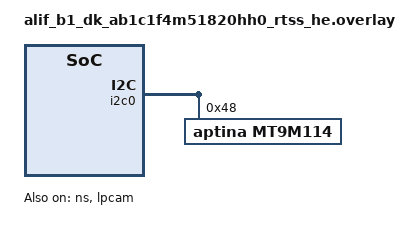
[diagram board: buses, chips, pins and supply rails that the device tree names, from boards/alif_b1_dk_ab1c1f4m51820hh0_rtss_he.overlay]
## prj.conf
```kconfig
# Copyright (C) 2024 Alif Semiconductor
# SPDX-License-Identifier: Apache-2.0

CONFIG_VIDEO=y
CONFIG_LOG=y
CONFIG_PRINTK=y
CONFIG_STDOUT_CONSOLE=y
CONFIG_I2C_TARGET=y
CONFIG_I2C=y
CONFIG_I2C_DW_CLOCK_SPEED=100
CONFIG_SYS_HEAP_AUTO=y
CONFIG_VIDEO_MIPI_CSI2_DW=y
```

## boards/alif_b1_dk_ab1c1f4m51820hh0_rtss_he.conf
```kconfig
CONFIG_VIDEO_BUFFER_POOL_SZ_MAX=655360
CONFIG_VIDEO_BUFFER_POOL_NUM_MAX=1
```

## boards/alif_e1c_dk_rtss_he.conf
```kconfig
CONFIG_VIDEO_BUFFER_POOL_SZ_MAX=524288
CONFIG_VIDEO_BUFFER_POOL_NUM_MAX=1
CONFIG_MT9M114_PARALLEL_INIT=y
```

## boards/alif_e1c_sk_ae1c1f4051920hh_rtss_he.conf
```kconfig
CONFIG_VIDEO_BUFFER_POOL_SZ_MAX=524288
CONFIG_VIDEO_BUFFER_POOL_NUM_MAX=1
CONFIG_REGULATOR=y
CONFIG_REGULATOR_FIXED=y
```

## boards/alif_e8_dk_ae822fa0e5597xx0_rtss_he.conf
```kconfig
CONFIG_VIDEO_ALIF_CAM_EXTENDED=y
CONFIG_MIPI_DSI=y
CONFIG_VIDEO_BUFFER_POOL_NUM_MAX=1
```

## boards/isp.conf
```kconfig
CONFIG_USE_ALIF_ISP_LIB=y
CONFIG_ISP_LIB_SCALAR_MODULE=y
CONFIG_ISP_LIB_DMSC_MODULE=y
CONFIG_ISP_LIB_CCM_MODULE=n
CONFIG_ISP_LIB_WBM_MODULE=n
CONFIG_ISP_LIB_WB_MODULE=n
```

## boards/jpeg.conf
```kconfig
# Copyright (C) 2026 Alif Semiconductor - All Rights Reserved.
# Use, distribution and modification of this code is permitted under the
# terms stated in the Alif Semiconductor Software License Agreement
#
# You should have received a copy of the Alif Semiconductor Software
# License Agreement with this file. If not, please write to:
# contact@alifsemi.com, or visit: https://alifsemi.com/license

# Video subsystem
CONFIG_VIDEO_JPEG_HANTRO_VC9000E=y
CONFIG_USE_ALIF_JPEG_SW_LIB=y
CONFIG_VIDEO_BUFFER_POOL_NUM_MAX=3
CONFIG_VIDEO_BUFFER_POOL_SZ_MAX=400000
```

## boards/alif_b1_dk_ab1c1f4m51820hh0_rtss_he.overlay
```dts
/* Copyright (C) 2025 Alif Semiconductor - All Rights Reserved.
 * Use, distribution and modification of this code is permitted under the
 * terms stated in the Alif Semiconductor Software License Agreement
 *
 * You should have received a copy of the Alif Semiconductor Software
 * License Agreement with this file. If not, please write to:
 * contact@alifsemi.com, or visit: https: //alifsemi.com/license
 *
 */

#include <dt-bindings/pinctrl/balletto-pinctrl.h>
#include <dt-bindings/i2c/i2c.h>
#include <dt-bindings/gpio/gpio.h>
#include <dt-bindings/video/video-interfaces.h>

&ns {
	status = "okay";
};

&i2c0 {
	status = "okay";

	mt9m114: mt9m114@48{
		compatible = "aptina,mt9m114";
		reg = <0x48>;
		status = "okay";

		port {
			mt9m114_ep_out: endpoint {
				bus-type = <VIDEO_BUS_TYPE_PARALLEL>;
				remote-endpoint-label = "lpcam_ep_in";
			};
		};
	};
};

&lpcam {
	status = "okay";
	sensor = <&mt9m114>;
	ports {
		#address-cells = <1>;
		#size-cells = <0>;

		/* Camera Input Endpoint. For LP-CAM it is only camera */
		port@0 {
			reg = <0>;
			lpcam_ep_in: endpoint {
				remote-endpoint-label = "mt9m114_ep_out";
			};
		};

		/* Video buffer output endpoint. */
		port@1 {
			reg = <1>;
			cam_mem_ep_out: endpoint {
				remote-endpoint-label = "application";
			};
		};


	};
};
```

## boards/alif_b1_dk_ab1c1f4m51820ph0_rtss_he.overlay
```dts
/* Copyright (C) 2026 Alif Semiconductor - All Rights Reserved.
 * Use, distribution and modification of this code is permitted under the
 * terms stated in the Alif Semiconductor Software License Agreement
 *
 * You should have received a copy of the Alif Semiconductor Software
 * License Agreement with this file. If not, please write to:
 * contact@alifsemi.com, or visit: https: //alifsemi.com/license
 *
 */

#include <dt-bindings/pinctrl/balletto-pinctrl.h>
#include <dt-bindings/i2c/i2c.h>
#include <dt-bindings/gpio/gpio.h>
#include <dt-bindings/video/video-interfaces.h>

&ns {
	status = "okay";
	reg = <0x2002a000 DT_SIZE_K(768)>;
};

&i2c0 {
	status = "okay";

	mt9m114: mt9m114@48{
		compatible = "aptina,mt9m114";
		reg = <0x48>;
		status = "okay";

		port {
			mt9m114_ep_out: endpoint {
				bus-type = <VIDEO_BUS_TYPE_PARALLEL>;
				remote-endpoint-label = "lpcam_ep_in";
			};
		};
	};
};

&lpcam {
	status = "okay";
	cpi-interface = "parallel";
	ports {
		#address-cells = <1>;
		#size-cells = <0>;

		/* Camera Input Endpoint. For LP-CAM it is only camera */
		port@0 {
			reg = <0>;
			lpcam_ep_in: endpoint {
				remote-endpoint-label = "mt9m114_ep_out";
			};
		};

		/* Video buffer output endpoint. */
		port@1 {
			reg = <1>;
			cam_mem_ep_out: endpoint {
				remote-endpoint-label = "application";
			};
		};


	};
};
```

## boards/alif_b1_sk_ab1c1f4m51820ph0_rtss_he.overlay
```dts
/* Copyright (C) 2026 Alif Semiconductor - All Rights Reserved.
 * Use, distribution and modification of this code is permitted under the
 * terms stated in the Alif Semiconductor Software License Agreement
 *
 * You should have received a copy of the Alif Semiconductor Software
 * License Agreement with this file. If not, please write to:
 * contact@alifsemi.com, or visit: https: //alifsemi.com/license
 *
 */

#include <dt-bindings/pinctrl/balletto-pinctrl.h>
#include <dt-bindings/i2c/i2c.h>
#include <dt-bindings/gpio/gpio.h>
#include <dt-bindings/video/video-interfaces.h>

&ns {
	status = "okay";
};

&gpio1 {
	status = "okay";
};

&lpgpio {
	status = "okay";
};

&i2c1 {
	status = "okay";

	ov5640: ov5640@3c {
		compatible = "ovti,ov5640";
		reg = <0x3c>;
		status = "okay";
		reset-gpios = <&lpgpio 1 GPIO_ACTIVE_LOW>;
		powerdown-gpios = <&gpio1 3 GPIO_ACTIVE_HIGH>;

		port {
			lpcam_ep_out: endpoint {
				bus-type = <VIDEO_BUS_TYPE_PARALLEL>;
				remote-endpoint-label = "lpcam_ep_in";
			};
		};
	};
};

&lpcam {
	status = "okay";
	cpi-interface = "parallel";
	ports {
		#address-cells = <1>;
		#size-cells = <0>;

		/* Camera Input Endpoint. For LP-CAM it is only camera */
		port@0 {
			reg = <0>;
			lpcam_ep_in: endpoint {
				remote-endpoint-label = "lpcam_ep_out";
			};
		};

		/* Video buffer output endpoint. */
		port@1 {
			reg = <1>;
			cam_mem_ep_out: endpoint {
				remote-endpoint-label = "application";
			};
		};


	};
};
```

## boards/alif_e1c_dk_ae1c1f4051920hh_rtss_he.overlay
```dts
/* Copyright (C) 2024 Alif Semiconductor - All Rights Reserved.
 * Use, distribution and modification of this code is permitted under the
 * terms stated in the Alif Semiconductor Software License Agreement
 *
 * You should have received a copy of the Alif Semiconductor Software
 * License Agreement with this file. If not, please write to:
 * contact@alifsemi.com, or visit: https://alifsemi.com/license
 *
 */

#include <dt-bindings/pinctrl/balletto-pinctrl.h>
#include <dt-bindings/i2c/i2c.h>
#include <dt-bindings/gpio/gpio.h>
#include <dt-bindings/video/video-interfaces.h>

&ns {
	status = "okay";
};

&i2c0 {
	status = "okay";

	mt9m114: mt9m114@48{
		compatible = "aptina,mt9m114";
		reg = <0x48>;
		status = "okay";

		port {
			mt9m114_ep_out: endpoint {
				bus-type = <VIDEO_BUS_TYPE_PARALLEL>;
				remote-endpoint-label = "lpcam_ep_in";
			};
		};
	};
};

&lpcam {
	status = "okay";
	sensor = <&mt9m114>;
	ports {
		#address-cells = <1>;
		#size-cells = <0>;

		/* Camera Input Endpoint. For LP-CAM it is only camera */
		port@0 {
			reg = <0>;
			lpcam_ep_in: endpoint {
				remote-endpoint-label = "mt9m114_ep_out";
			};
		};

		/* Video buffer output endpoint. */
		port@1 {
			reg = <1>;
			cam_mem_ep_out: endpoint {
				remote-endpoint-label = "application";
			};
		};


	};
};
```

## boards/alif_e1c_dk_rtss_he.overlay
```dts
/* Copyright (C) 2024 Alif Semiconductor - All Rights Reserved.
 * Use, distribution and modification of this code is permitted under the
 * terms stated in the Alif Semiconductor Software License Agreement
 *
 * You should have received a copy of the Alif Semiconductor Software
 * License Agreement with this file. If not, please write to:
 * contact@alifsemi.com, or visit: https: //alifsemi.com/license
 *
 */

#include <dt-bindings/pinctrl/balletto-pinctrl.h>
#include <dt-bindings/i2c/i2c.h>
#include <dt-bindings/gpio/gpio.h>
#include <dt-bindings/video/video-interfaces.h>

&ns {
	status = "okay";
};

&i2c0 {
	status = "okay";

	mt9m114: mt9m114@48{
		compatible = "aptina,mt9m114";
		reg = <0x48>;
		status = "okay";

		port {
			mt9m114_ep_out: endpoint {
				bus-type = <VIDEO_BUS_TYPE_PARALLEL>;
				remote-endpoint-label = "lpcam_ep_in";
			};
		};
	};
};

&lpcam {
	status = "okay";
	sensor = <&mt9m114>;
	ports {
		#address-cells = <1>;
		#size-cells = <0>;

		/* Camera Input Endpoint. For LP-CAM it is only camera */
		port@0 {
			reg = <0>;
			lpcam_ep_in: endpoint {
				remote-endpoint-label = "mt9m114_ep_out";
			};
		};

		/* Video buffer output endpoint. */
		port@1 {
			reg = <1>;
			cam_mem_ep_out: endpoint {
				remote-endpoint-label = "application";
			};
		};


	};
};
```

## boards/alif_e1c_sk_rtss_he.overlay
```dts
/* Copyright (C) 2026 Alif Semiconductor - All Rights Reserved.
 * Use, distribution and modification of this code is permitted under the
 * terms stated in the Alif Semiconductor Software License Agreement
 *
 * You should have received a copy of the Alif Semiconductor Software
 * License Agreement with this file. If not, please write to:
 * contact@alifsemi.com, or visit: https: //alifsemi.com/license
 *
 */

#include <dt-bindings/pinctrl/balletto-pinctrl.h>
#include <dt-bindings/i2c/i2c.h>
#include <dt-bindings/gpio/gpio.h>
#include <dt-bindings/video/video-interfaces.h>

&ns {
	status = "okay";
};

&gpio1 {
	status = "okay";
};

&lpgpio {
	status = "okay";
};

&i2c1 {
	status = "okay";

	ov5640: ov5640@3c{
		compatible = "ovti,ov5640";
		reg = <0x3c>;
		status = "okay";
		reset-gpios = <&lpgpio 1 GPIO_ACTIVE_LOW>;
		powerdown-gpios = <&gpio1 3 GPIO_ACTIVE_HIGH>;

		port {
			ov5640_ep_out: endpoint {
				bus-type = <VIDEO_BUS_TYPE_PARALLEL>;
				remote-endpoint-label = "lpcam_ep_in";
			};
		};
	};
};

&lpcam {
	status = "okay";
	cpi-interface = "parallel";
	ports {
		#address-cells = <1>;
		#size-cells = <0>;

		/* Camera Input Endpoint. For LP-CAM it is only camera */
		port@0 {
			reg = <0>;
			lpcam_ep_in: endpoint {
				remote-endpoint-label = "ov5640_ep_out";
			};
		};

		/* Video buffer output endpoint. */
		port@1 {
			reg = <1>;
			cam_mem_ep_out: endpoint {
				remote-endpoint-label = "application";
			};
		};


	};
};
```

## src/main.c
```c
/*
 * Copyright (C) 2026 Alif Semiconductor.
 * SPDX-License-Identifier: Apache-2.0
 */

#include <zephyr/kernel.h>
#include <zephyr/device.h>

#include <zephyr/drivers/video.h>
#include <soc_common.h>
#include <se_service.h>
#include <zephyr/drivers/gpio.h>

#include <zephyr/drivers/video/video_alif.h>
#include <zephyr/drivers/video/isp-vsi.h>

#ifdef CONFIG_DT_HAS_HIMAX_HM0360_ENABLED
#include <zephyr/drivers/video/hm0360-video-controls.h>
#endif /* CONFIG_DT_HAS_HIMAX_HM0360_ENABLED */

#include <zephyr/logging/log.h>
LOG_MODULE_REGISTER(video_app, LOG_LEVEL_INF);

#define ISP_ENABLED DT_NODE_HAS_STATUS_OKAY(DT_NODELABEL(isp))
#define JPEG_ENABLED (ISP_ENABLED && DT_NODE_HAS_STATUS_OKAY(DT_NODELABEL(jpeg0)))

#ifdef CONFIG_DT_HAS_OVTI_OV5640_ENABLED
#define N_FRAMES		1
#else
#define N_FRAMES		10
#endif
#if JPEG_ENABLED
/* Jpeg output buffer needs one buffer. So allocate 1 less here */
BUILD_ASSERT(CONFIG_VIDEO_BUFFER_POOL_NUM_MAX >= 3, "Insufficient Video buffer pool capacity");
#define N_VID_BUFF              MIN((CONFIG_VIDEO_BUFFER_POOL_NUM_MAX - 1), N_FRAMES)
#else
#define N_VID_BUFF              MIN(CONFIG_VIDEO_BUFFER_POOL_NUM_MAX, N_FRAMES)
#endif /* JPEG_ENABLED */


#ifdef CONFIG_DT_HAS_HIMAX_HM0360_ENABLED
#define PIPELINE_FORMAT	VIDEO_PIX_FMT_BGGR8
#elif CONFIG_DT_HAS_OVTI_OV5640_ENABLED
#define PIPELINE_FORMAT	VIDEO_PIX_FMT_RGB565
#else
#define PIPELINE_FORMAT	VIDEO_PIX_FMT_Y10P
#endif /* CONFIG_DT_HAS_HIMAX_HM0360_ENABLED */

#if ISP_ENABLED
#if JPEG_ENABLED
#define OUTPUT_FORMAT	VIDEO_PIX_FMT_NV12
#else
#define OUTPUT_FORMAT	VIDEO_PIX_FMT_RGB888_PLANAR_PRIVATE
#endif /* JPEG_ENABLED */
#endif

#if (CONFIG_VIDEO_ALIF_CAM_EXTENDED && CONFIG_VIDEO_MIPI_CSI2_DW)
#define NUM_CAMS DT_PROP_LEN(DT_NODELABEL(csi), phy_if)
#else
#define NUM_CAMS 1
#endif /* CONFIG_VIDEO_ALIF_CAM_EXTENDED */

#if ISP_ENABLED
enum logging_level {
	LOGGING_LEVEL_NONE = 0,
	LOGGING_LEVEL_ERR,
	LOGGING_LEVEL_WARN,
	LOGGING_LEVEL_INFO,
	LOGGING_LEVEL_DEBUG,
	LOGGING_LEVEL_VERBOSE,
};

#define LIB_LOG_LEVEL LOGGING_LEVEL_NONE

int log_level(void)
{
	return LIB_LOG_LEVEL;
}
#endif

#if JPEG_ENABLED
#define JPEG_DEVICE_NODE DT_NODELABEL(jpeg0)
#define JPEG_COMPRESS_QUALITY    50
#define JPEG_HEADER_SIZE         CONFIG_VIDEO_JPEG_HANTRO_VC9000E_HEADER_SIZE
/* Jpeg output buffer */
static struct video_buffer *jpeg_op_buf;
const struct device *jpeg_dev;
static struct video_caps jpeg_fmt_caps;
#endif /* JPEG_ENABLED */

static int fourcc_to_pitch(uint32_t fourcc, uint32_t width)
{
	int pitch;

	switch (fourcc) {
	case VIDEO_PIX_FMT_RGB888_PLANAR_PRIVATE:
	case VIDEO_PIX_FMT_NV24:
	case VIDEO_PIX_FMT_NV42:
		pitch = width * 3;
		break;
	case VIDEO_PIX_FMT_RGB565:
	case VIDEO_PIX_FMT_Y10P:
	case VIDEO_PIX_FMT_BGGR10:
	case VIDEO_PIX_FMT_GBRG10:
	case VIDEO_PIX_FMT_GRBG10:
	case VIDEO_PIX_FMT_RGGB10:
	case VIDEO_PIX_FMT_BGGR12:
	case VIDEO_PIX_FMT_GBRG12:
	case VIDEO_PIX_FMT_GRBG12:
	case VIDEO_PIX_FMT_RGGB12:
	case VIDEO_PIX_FMT_BGGR14:
	case VIDEO_PIX_FMT_GBRG14:
	case VIDEO_PIX_FMT_GRBG14:
	case VIDEO_PIX_FMT_RGGB14:
	case VIDEO_PIX_FMT_BGGR16:
	case VIDEO_PIX_FMT_GBRG16:
	case VIDEO_PIX_FMT_GRBG16:
	case VIDEO_PIX_FMT_RGGB16:
	case VIDEO_PIX_FMT_Y10:
	case VIDEO_PIX_FMT_Y12:
	case VIDEO_PIX_FMT_Y14:
	case VIDEO_PIX_FMT_YUYV:
	case VIDEO_PIX_FMT_YVYU:
	case VIDEO_PIX_FMT_VYUY:
	case VIDEO_PIX_FMT_UYVY:
	case VIDEO_PIX_FMT_NV16:
	case VIDEO_PIX_FMT_NV61:
	case VIDEO_PIX_FMT_YUV422P:
		pitch = width << 1;
		break;
	case VIDEO_PIX_FMT_NV12:
	case VIDEO_PIX_FMT_NV21:
	case VIDEO_PIX_FMT_YUV420:
	case VIDEO_PIX_FMT_YVU420:
		pitch = (width * 3) >> 1;
		break;
	case VIDEO_PIX_FMT_BGGR8:
	case VIDEO_PIX_FMT_GBRG8:
	case VIDEO_PIX_FMT_GRBG8:
	case VIDEO_PIX_FMT_RGGB8:
	case VIDEO_PIX_FMT_GREY:
	default:
		pitch = width;
		break;
	}

	return pitch;
}

#if ISP_ENABLED && defined(CONFIG_ISP_LIB_AE_MODULE)
static void ae_status(const struct device *dev, uint8_t ae_stable, void *user_data)
{
	ARG_UNUSED(dev);
	ARG_UNUSED(user_data);
	LOG_INF("AE Stabilization status: %d", ae_stable);
}
#endif /* ISP_ENABLED && defined(CONFIG_ISP_LIB_AE_MODULE) */

#if JPEG_ENABLED
/**
 * @brief Test basic JPEG compression.
 *
 * Compress the full test image at the configured quality, store the
 * compressed data in the provided output buffer, and print a host-side
 * dump-memory command for retrieving the result.
 *
 * @param jpeg_dev      Pointer to the JPEG encoder device.
 * @param fmt           Jpeg frame format.
 * @param input_buf     Pointer to input buffer.
 * @param input_buf_idx Input buffer index.
 * @param output_buf    Pointer to output buffer for compressed jpeg data.
 *
 * @return 0 on success, negative errno on failure.
 */
static int jpeg_compress_img(const struct device *jpeg_dev,
			struct video_format fmt,
			struct video_buffer *input_buf,
			uint8_t input_buf_idx,
			struct video_buffer *output_buf)
{
	struct video_buffer *dequeued_buf = NULL;
	int ret;

	LOG_INF("Starting JPEG encoding...");

	/* The pitch is 16-bytes aligned */
	fmt.pitch = ROUND_UP(fmt.width, 16);

	/* Set video format */
	ret = video_set_format(jpeg_dev, VIDEO_EP_OUT, &fmt);
	if (ret < 0) {
		LOG_ERR("Jpeg: Failed to set format: %d", ret);
		return ret;
	}

	LOG_INF("Jpeg: Format set: %ux%u, format: NV12", fmt.width, fmt.height);

	/* Set JPEG quality */
	uint8_t quality = JPEG_COMPRESS_QUALITY;

	ret = video_set_ctrl(jpeg_dev, VIDEO_CID_JPEG_COMPRESSION_QUALITY, &quality);
	if (ret < 0) {
		LOG_ERR("JPEG: Failed to set quality: %d", ret);
		return ret;
	}

	/* Set input buffer address */
	ret = video_set_ctrl(jpeg_dev, VIDEO_CID_JPEG_INPUT_BUFFER, input_buf->buffer);
	if (ret < 0) {
		LOG_ERR("Jpeg: Failed to set input buffer: %d", ret);
		return ret;
	}

	output_buf->bytesused = fmt.width * fmt.height;

	/* Enqueue output buffer */
	ret = video_enqueue(jpeg_dev, VIDEO_EP_OUT, output_buf);
	if (ret < 0) {
		LOG_ERR("Jpeg: Failed to enqueue buffer: %d", ret);
		return ret;
	}


	ret = video_stream_start(jpeg_dev);
	if (ret < 0) {
		LOG_ERR("Jpeg: Failed to start stream: %d", ret);
		return ret;
	}

	/* Dequeue encoded buffer */
	ret = video_dequeue(jpeg_dev, VIDEO_EP_OUT, &dequeued_buf, K_SECONDS(5));
	if (ret < 0) {
		LOG_ERR("Jpeg: Failed to dequeue buffer: %d", ret);
		video_stream_stop(jpeg_dev);
		return ret;
	}

	/* Stop streaming */
	ret = video_stream_stop(jpeg_dev);
	if (ret < 0) {
		LOG_ERR("Jpeg: Failed to stop stream: %d", ret);
		return ret;
	}

	/* Print results */
	LOG_INF("=== JPEG Encoding Success===");
	LOG_INF("Jpeg: Capture Image: dump memory "
		"\"/home/$USER/capture_cp_%d.jpg\" 0x%08x 0x%08x\n",
		input_buf_idx, (uint32_t)output_buf->buffer,
		(uint32_t)output_buf->buffer + dequeued_buf->bytesused);

	return 0;

}
#endif /* JPEG_ENABLED */

int main(void)
{
	struct video_buffer *buffers[N_VID_BUFF], *vbuf;
	struct video_format fmt = { 0 };
	struct video_caps caps[NUM_CAMS];
	const struct device *video;
	enum video_endpoint_id ep;
	unsigned int frame = 0;
	size_t bsize;
	int i = 0;
	int ret;

#ifdef CONFIG_DT_HAS_HIMAX_HM0360_ENABLED
	uint32_t num_frames;
#endif /* CONFIG_DT_HAS_HIMAX_HM0360_ENABLED */

#if (CONFIG_VIDEO_ALIF_CAM_EXTENDED && CONFIG_VIDEO_MIPI_CSI2_DW)
	uint8_t current_sensor;
#endif /* CONFIG_VIDEO_ALIF_CAM_EXTENDED */
	int loop_ctr;

	uint32_t last_timestamp = 0;
	uint32_t frame_time = 0;

#if ISP_ENABLED
	video = DEVICE_DT_GET_ONE(vsi_isp_pico);
#else
	video = DEVICE_DT_GET_ONE(alif_cam);
#endif /* DT_NODE_HAS_STATUS_OKAY(DT_NODELABEL(isp), okay)*/

	if (!device_is_ready(video)) {
		LOG_ERR("%s: device not ready.", video->name);
		return -1;
	}
	LOG_INF("- Device name: %s", video->name);

#if ISP_ENABLED && defined(CONFIG_ISP_LIB_AE_MODULE)
	ret = isp_vsi_register_ae_status_callback(video, ae_status, NULL);
	if (ret) {
		LOG_ERR("Failed to register AE callback!");
		return ret;
	}
#endif /* ISP_ENABLED && defined(CONFIG_ISP_LIB_AE_MODULE) */

	for (loop_ctr = NUM_CAMS - 1; loop_ctr >= 0; loop_ctr--) {
#if (CONFIG_VIDEO_ALIF_CAM_EXTENDED && CONFIG_VIDEO_MIPI_CSI2_DW)
		ret = video_get_ctrl(video, VIDEO_CID_ALIF_CSI_CURR_CAM, &current_sensor);
		if (ret) {
			LOG_ERR("Failed to get current camera!");
			return ret;
		}
		LOG_INF("Selected camera: %s", (current_sensor) ? "Standard" : "Selfie");
#endif /* CONFIG_VIDEO_ALIF_CAM_EXTENDED */

		if (IS_ENABLED(ISP_ENABLED)) {
			ep = VIDEO_EP_IN;
		} else {
			ep = VIDEO_EP_OUT;
		}

		/* Get capabilities */
		if (video_get_caps(video, ep, &caps[loop_ctr])) {
			LOG_ERR("Unable to retrieve video capabilities");
			return -1;
		}

		LOG_INF("- Capabilities:\n");
		while (caps[loop_ctr].format_caps[i].pixelformat) {
			const struct video_format_cap *fcap = &caps[loop_ctr].format_caps[i];
			/* fourcc to string */
			LOG_INF("  %c%c%c%c width (min, max, step)[%u; %u; %u] "
				"height (min, max, step)[%u; %u; %u]",
			       (char)fcap->pixelformat,
			       (char)(fcap->pixelformat >> 8),
			       (char)(fcap->pixelformat >> 16),
			       (char)(fcap->pixelformat >> 24),
			       fcap->width_min, fcap->width_max, fcap->width_step,
			       fcap->height_min, fcap->height_max, fcap->height_step);
			if (fcap->pixelformat == PIPELINE_FORMAT) {
				fmt.pixelformat = PIPELINE_FORMAT;
				if (IS_ENABLED(CONFIG_DT_HAS_HIMAX_HM0360_ENABLED)) {
					fmt.width = 320;
					fmt.height = 240;
				} else if (IS_ENABLED(CONFIG_DT_HAS_OVTI_OV5640_ENABLED)) {
					fmt.width = 160;
					fmt.height = 120;
				} else {
					fmt.width = fcap->width_min;
					fmt.height = fcap->height_min;
				}
			}
			i++;
		}

		if (fmt.pixelformat == 0) {
			LOG_ERR("Desired Pixel format is not supported.");
			return -1;
		}

		fmt.pitch = fourcc_to_pitch(fmt.pixelformat, fmt.width);

		ret = video_set_format(video, ep, &fmt);
		if (ret) {
			LOG_ERR("Failed to set video format. ret - %d", ret);
			return -1;
		}

#if (CONFIG_VIDEO_ALIF_CAM_EXTENDED && CONFIG_VIDEO_MIPI_CSI2_DW)
		if (NUM_CAMS > 1) {
			current_sensor ^= 1;
			ret = video_set_ctrl(video, VIDEO_CID_ALIF_CSI_CURR_CAM,
					&current_sensor);
			if (ret) {
				LOG_ERR("Unable to switch camera!");
			}
		}
#endif /* CONFIG_VIDEO_ALIF_CAM_EXTENDED */
	}

#if (ISP_ENABLED)
		/*
		 * Set Output Endpoint format. Ensure that ISP EP-out
		 * format is set while allocating the buffers used to
		 * capture images.
		 */
		fmt.pixelformat = OUTPUT_FORMAT;
		fmt.width = 480;
		fmt.height = 480;
		fmt.pitch = fourcc_to_pitch(fmt.pixelformat, fmt.width);

		ret = video_set_format(video, VIDEO_EP_OUT, &fmt);
		if (ret) {
			LOG_ERR("Failed to set video format. ret - %d", ret);
			return -1;
		}
#endif /*ISP_ENABLED */

	LOG_INF("- format: %c%c%c%c %ux%u", (char)fmt.pixelformat,
	       (char)(fmt.pixelformat >> 8),
	       (char)(fmt.pixelformat >> 16),
	       (char)(fmt.pixelformat >> 24),
	       fmt.width, fmt.height);

	/* Size to allocate for each buffer */
	bsize = fmt.pitch * fmt.height;

	LOG_INF("Width - %d, Pitch - %d, Height - %d, Buff size - %d",
			fmt.width, fmt.pitch, fmt.height, bsize);

#if (CONFIG_VIDEO_ALIF_CAM_EXTENDED && CONFIG_VIDEO_MIPI_CSI2_DW)
		if (NUM_CAMS > 1) {
			current_sensor = 0;
			ret = video_set_ctrl(video, VIDEO_CID_ALIF_CSI_CURR_CAM,
					&current_sensor);
			if (ret) {
				LOG_ERR("Unable to switch camera!");
			}
		}
#endif /* CONFIG_VIDEO_ALIF_CAM_EXTENDED */

#if JPEG_ENABLED
	/* Get JPEG device */
	jpeg_dev = DEVICE_DT_GET(JPEG_DEVICE_NODE);
	if (!device_is_ready(jpeg_dev)) {
		LOG_ERR("JPEG: device not ready");
		return -1;
	}

	LOG_INF("JPEG: device ready: %s", jpeg_dev->name);

	/* Get capabilities */
	ret = video_get_caps(jpeg_dev, VIDEO_EP_OUT, &jpeg_fmt_caps);
	if (ret != 0) {
		LOG_ERR("Jpeg: Failed to fetch Jpeg capabilities");
		return -1;
	}

	LOG_INF("JPEG: Encoder Capabilities:");
	for (int i = 0; jpeg_fmt_caps.format_caps[i].pixelformat != 0; i++) {
		LOG_INF("  Format: 0x%08x, Size: %ux%u to %ux%u",
			jpeg_fmt_caps.format_caps[i].pixelformat,
			jpeg_fmt_caps.format_caps[i].width_min,
			jpeg_fmt_caps.format_caps[i].height_min,
			jpeg_fmt_caps.format_caps[i].width_max,
			jpeg_fmt_caps.format_caps[i].height_max);
	}

	uint32_t jpeg_op_bsize = (fmt.width * fmt.height) + JPEG_HEADER_SIZE;

	/* Allocate output buffer from video buffer pool */
	jpeg_op_buf = video_buffer_alloc(jpeg_op_bsize, K_NO_WAIT);
	if (jpeg_op_buf == NULL) {
		LOG_ERR("Jpeg: Failed to allocate Jpeg output buffer");
		return -1;
	}
	LOG_INF("Jpeg: Outbuf allocated at 0x%08x with %u bytes\n",
			(uint32_t)jpeg_op_buf->buffer, jpeg_op_bsize);
	memset(jpeg_op_buf->buffer, 0, jpeg_op_bsize);
#endif /* JPEG_ENABLED */

	/* Alloc video buffers and enqueue for capture */
	for (i = 0; i < ARRAY_SIZE(buffers); i++) {
		buffers[i] = video_buffer_alloc(bsize, K_NO_WAIT);
		if (buffers[i] == NULL) {
			LOG_ERR("Unable to alloc video buffer");
			return -1;
		}

		/* Allocated Buffer Information */
		LOG_INF("- addr - 0x%x, size - %d, bytesused - %d, resolution - %ux%u",
			(uint32_t)buffers[i]->buffer,
			bsize,
			buffers[i]->bytesused,
			fmt.width, fmt.height);

		memset(buffers[i]->buffer, 0, sizeof(char) * bsize);
		video_enqueue(video, VIDEO_EP_OUT, buffers[i]);

		LOG_INF("capture buffer[%d]: dump binary memory "
			"\"/home/$USER/capture_%d.bin\" 0x%08x 0x%08x -r\n",
			i, i, (uint32_t)buffers[i]->buffer,
			(uint32_t)buffers[i]->buffer + bsize - 1);
	}

	/*
	 * TODO: Need to fix this delay.
	 * As per our observation, if we are not giving this much delay
	 * then mt9m114 camera sensor is not setup properly and images its
	 * sending out are not clear.
	 */
	k_msleep(7000);

#if CONFIG_DT_HAS_HIMAX_HM0360_ENABLED
	/* Video test SNAPSHOT capture. */
	num_frames = N_FRAMES;
	ret = video_set_ctrl(video, VIDEO_CID_SNAPSHOT_CAPTURE, &num_frames);
	if (ret) {
		LOG_INF("Snapshot mode not-supported by CMOS sensor.");
	}
#endif

	/* Start video capture */
	ret = video_stream_start(video);
	if (ret) {
		LOG_ERR("Unable to start capture (interface). ret - %d", ret);
		return -1;
	}

	LOG_INF("Capture started");

	for (int i = 0; i < N_FRAMES; i++) {
		ret = video_dequeue(video, VIDEO_EP_OUT, &vbuf, K_FOREVER);
		if (ret) {
			LOG_ERR("Unable to dequeue video buf");
			return -1;
		}

		LOG_INF("Got frame %u! size: %u; timestamp %u ms",
		       frame++, vbuf->bytesused, vbuf->timestamp);

		if (last_timestamp == 0) {
			LOG_INF("FPS: 0.0");
			last_timestamp = vbuf->timestamp;
		} else {
			frame_time = vbuf->timestamp - last_timestamp;
			last_timestamp = vbuf->timestamp;
			LOG_INF("FPS: %f", 1000.0/frame_time);
		}

#if JPEG_ENABLED
		ret = jpeg_compress_img(jpeg_dev, fmt, vbuf, i, jpeg_op_buf);
		if (ret != 0) {
			LOG_ERR("Jpeg compression failed");
			goto exit_exec;
		}
#endif /* JPEG_ENABLED */

		if (i < N_FRAMES - N_VID_BUFF) {
			ret = video_enqueue(video, VIDEO_EP_OUT, vbuf);
			if (ret) {
				LOG_ERR("Unable to requeue video buf");
				return -1;
			}

			ret = video_stream_start(video);
			if (ret && ret != -EBUSY) {
				LOG_ERR("Unable to restart capture (interface). ret - %d",
						ret);
				return -1;
			}
		}
	}

exit_exec:

	LOG_INF("Calling video flush.");
	video_flush(video, VIDEO_EP_OUT, false);

	LOG_INF("Calling video stream stop.");
	ret = video_stream_stop(video);
	if (ret) {
		LOG_ERR("Unable to stop capture (interface). ret - %d", ret);
		return -1;
	}

	return 0;
}

/*
 * Do application configurations.
 */
static int app_set_parameters(void)
{
	run_profile_t runp;
	int ret;

#if defined(CONFIG_VIDEO_MIPI_CSI2_DW)
#if (DT_NODE_HAS_STATUS(DT_NODELABEL(camera_select), okay))
	const struct gpio_dt_spec sel =
		GPIO_DT_SPEC_GET(DT_NODELABEL(camera_select), select_gpios);

	gpio_pin_configure_dt(&sel, GPIO_OUTPUT);
	gpio_pin_set_dt(&sel, 1);
#endif /* (DT_NODE_HAS_STATUS(DT_NODELABEL(camera_sensor), okay)) */
#endif

	/* Enable HFOSC (38.4 MHz) and CFG (100 MHz) clock. */
#if defined(CONFIG_SOC_SERIES_E8)
	sys_set_bits(CGU_CLK_ENA, BIT(23) | BIT(7));
#else
	sys_set_bits(CGU_CLK_ENA, BIT(23) | BIT(21));
#endif /* defined (CONFIG_SOC_SERIES_E7) */

	runp.power_domains = PD_SYST_MASK | PD_SSE700_AON_MASK | PD_DBSS_MASK;
	runp.dcdc_voltage  = 825;
	runp.dcdc_mode     = DCDC_MODE_PWM;
	runp.aon_clk_src   = CLK_SRC_LFXO;
	runp.run_clk_src   = CLK_SRC_PLL;
	runp.vdd_ioflex_3V3 = IOFLEX_LEVEL_1V8;
#if defined(CONFIG_RTSS_HP)
	runp.cpu_clk_freq  = CLOCK_FREQUENCY_400MHZ;
#else
	runp.cpu_clk_freq  = CLOCK_FREQUENCY_160MHZ;
#endif

	runp.memory_blocks = MRAM_MASK;
#if DT_NODE_EXISTS(DT_NODELABEL(sram0))
	runp.memory_blocks |= SRAM0_MASK;
#endif

	runp.phy_pwr_gating |= MIPI_TX_DPHY_MASK | MIPI_RX_DPHY_MASK |
		MIPI_PLL_DPHY_MASK | LDO_PHY_MASK;
	runp.ip_clock_gating = CAMERA_MASK | MIPI_CSI_MASK | MIPI_DSI_MASK;

	ret = se_service_set_run_cfg(&runp);
	__ASSERT(ret == 0, "SE: set_run_cfg failed = %d", ret);

	/*
	 * CPI Pixel clock - Generate XVCLK. Used by ARX3A0
	 * TODO: parse this clock from DTS and set on board from camera
	 * controller driver.
	 */
#if defined(CONFIG_VIDEO_MIPI_CSI2_DW)
	sys_write32(0x140001, CLKCTRL_PER_MST_CAMERA_PIXCLK_CTRL);
#endif

#if (DT_NODE_HAS_STATUS(DT_NODELABEL(lpcam), okay))
	/* Enable LPCAM controller Pixel Clock (XVCLK). */
	/*
	 * Not needed for the time being as LP-CAM supports only
	 * parallel data-mode of cature and only MT9M114 sensor is
	 * tested with parallel data capture which generates clock
	 * internally. But can be used to generate XVCLK from LP CAM
	 * controller.
	 * sys_write32(0x140001, M55HE_CFG_HE_CAMERA_PIXCLK);
	 */
#if CONFIG_DT_HAS_OVTI_OV5640_ENABLED
	const struct gpio_dt_spec cam_enbuf =
		GPIO_DT_SPEC_GET(DT_NODELABEL(cam_enbuf), enbuf_gpios);

	gpio_pin_configure_dt(&cam_enbuf, GPIO_OUTPUT_ACTIVE);
#endif
#endif
	return 0;
}

SYS_INIT(app_set_parameters, PRE_KERNEL_1, 46);
```
